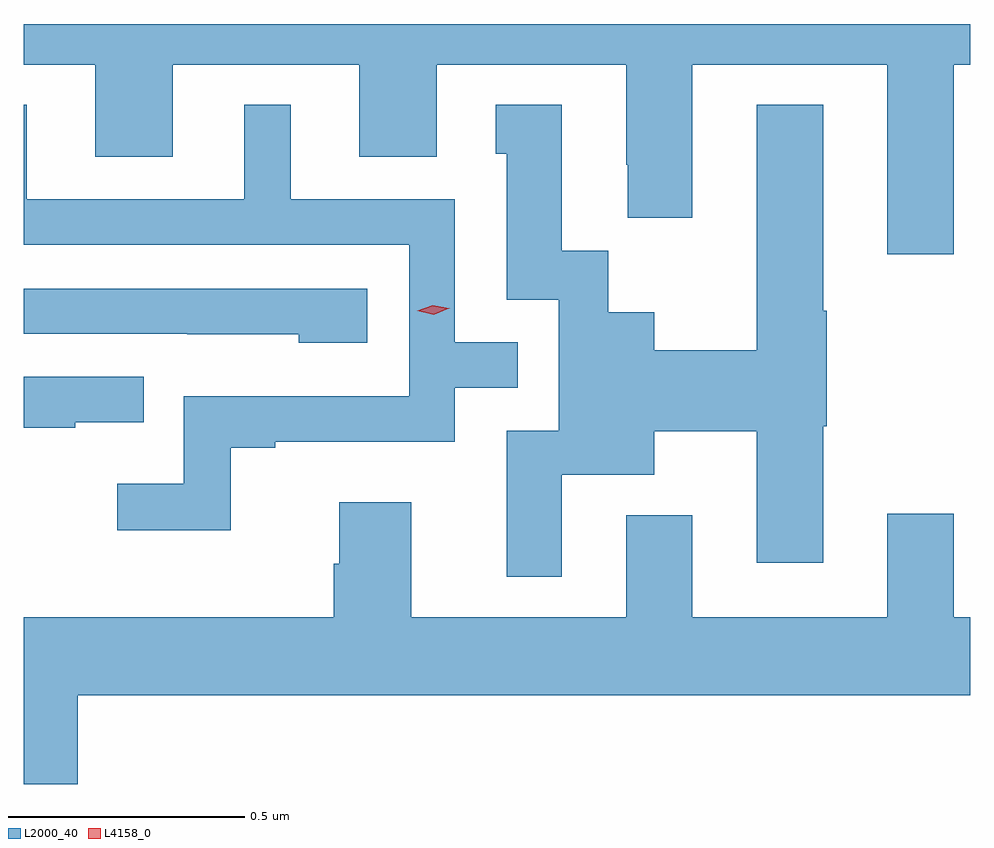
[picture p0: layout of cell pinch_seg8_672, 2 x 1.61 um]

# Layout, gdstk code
import gdstk
lib = gdstk.Library(unit=1e-6, precision=1e-09)
def P(c, l, *ps):  # polygons
    for p in ps: c.add(gdstk.Polygon(p, *l))
L2000_40 = (2000, 40)
L4158_0 = (4158, 0)

pinch_seg8_672 = lib.new_cell('pinch_seg8_672')
P(pinch_seg8_672, L2000_40, [(308.914,1089.86),(309.065,1089.86),(309.065,1089.666),(309.229,1089.666),(309.229,1089.86),(309.623,1089.86),(309.623,1089.666),(309.787,1089.666),(309.787,1089.86),(310.187,1089.86),(310.187,1089.649),(310.19,1089.649),(310.19,1089.537),(310.327,1089.537),(310.327,1089.86),(310.739,1089.86),(310.739,1089.459),(310.879,1089.459),(310.879,1089.86),(310.914,1089.86),(310.914,1089.946),(308.914,1089.946)],
  [(310.051,1088.993),(310.246,1088.993),(310.246,1089.085),(310.463,1089.085),(310.463,1088.808),(310.603,1088.808),(310.603,1089.096),(310.611,1089.096),(310.611,1089.34),(310.603,1089.34),(310.603,1089.775),(310.463,1089.775),(310.463,1089.257),(310.246,1089.257),(310.246,1089.337),(310.149,1089.337),(310.149,1089.467),(310.051,1089.467),(310.051,1089.775),(309.911,1089.775),(309.911,1089.672),(309.935,1089.672),(309.935,1089.363),(310.044,1089.363),(310.044,1089.087),(309.935,1089.087),(309.935,1088.778),(310.051,1088.778)],
  [(309.351,1089.051),(309.445,1089.051),(309.445,1089.063),(309.825,1089.063),(309.825,1089.177),(309.958,1089.177),(309.958,1089.273),(309.825,1089.273),(309.825,1089.576),(309.478,1089.576),(309.478,1089.775),(309.38,1089.775),(309.38,1089.576),(308.92,1089.576),(308.92,1089.775),(308.914,1089.775),(308.914,1089.48),(309.729,1089.48),(309.729,1089.159),(309.252,1089.159),(309.252,1088.974),(309.111,1088.974),(309.111,1088.876),(309.351,1088.876)],
  [(309.64,1089.387),(308.914,1089.387),(308.914,1089.291),(309.259,1089.291),(309.259,1089.29),(309.495,1089.29),(309.495,1089.272),(309.64,1089.272)],
  [(309.023,1089.104),(309.167,1089.104),(309.167,1089.201),(308.914,1089.201),(308.914,1089.093),(309.023,1089.093)],
  [(309.028,1088.528),(310.914,1088.528),(310.914,1088.692),(310.879,1088.692),(310.879,1088.911),(310.739,1088.911),(310.739,1088.692),(310.327,1088.692),(310.327,1088.908),(310.187,1088.908),(310.187,1088.692),(309.733,1088.692),(309.733,1088.935),(309.581,1088.935),(309.581,1088.805),(309.569,1088.805),(309.569,1088.692),(308.914,1088.692),(308.914,1088.34),(309.028,1088.34)])
P(pinch_seg8_672, L4158_0, [(309.78,1089.332),(309.745,1089.34),(309.745,1089.34),(309.745,1089.34),(309.778,1089.352),(309.813,1089.345),(309.814,1089.345),(309.813,1089.345)])

lib.write_gds('pinch_seg8_672.gds')
